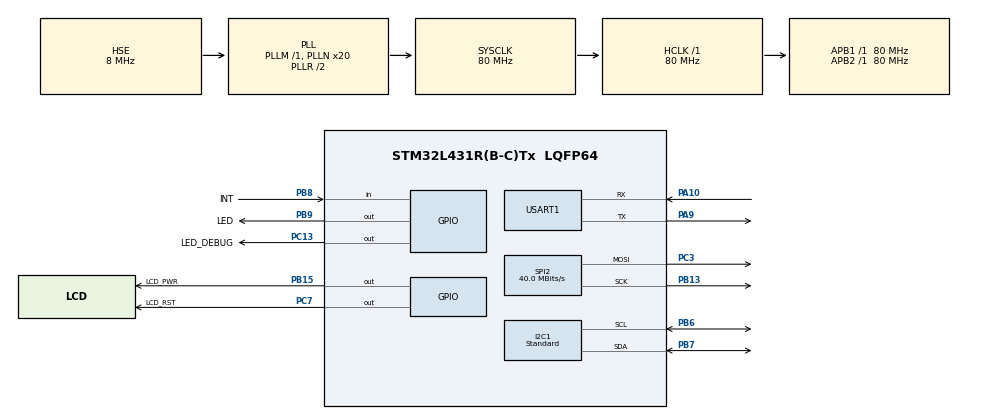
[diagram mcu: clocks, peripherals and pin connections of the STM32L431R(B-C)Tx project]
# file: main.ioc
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I2C1.I2C_Speed_Mode=I2C_Standard
I2C1.Timing=0x10909CEC
Mcu.Family=STM32L4
Mcu.Name=STM32L431R(B-C)Tx
Mcu.Package=LQFP64
NVIC.PriorityGroup=NVIC_PRIORITYGROUP_4
PA10.Mode=Asynchronous
PA10.Signal=USART1_RX
PA13\ (JTMS-SWDIO).Mode=Serial_Wire
PA13\ (JTMS-SWDIO).Signal=SYS_JTMS-SWDIO
PA14\ (JTCK-SWCLK).Mode=Serial_Wire
PA14\ (JTCK-SWCLK).Signal=SYS_JTCK-SWCLK
PA9.Mode=Asynchronous
PA9.Signal=USART1_TX
PB13.Mode=TX_Only_Simplex_Unidirect_Master
PB13.Signal=SPI2_SCK
PB15.GPIO_Label=LCD_PWR
PB15.GPIO_Speed=GPIO_SPEED_FREQ_VERY_HIGH
PB15.Signal=GPIO_Output
PB6.Mode=I2C
PB6.Signal=I2C1_SCL
PB7.Mode=I2C
PB7.Signal=I2C1_SDA
PB8.GPIO_Label=INT
PB8.Signal=GPIO_Input
PB9.GPIO_Label=LED
PB9.GPIO_Speed=GPIO_SPEED_FREQ_VERY_HIGH
PB9.Signal=GPIO_Output
PC13.GPIO_Label=LED_DEBUG
PC13.Signal=GPIO_Output
PC3.Mode=TX_Only_Simplex_Unidirect_Master
PC3.Signal=SPI2_MOSI
PC7.GPIO_Label=LCD_RST
PC7.GPIO_Speed=GPIO_SPEED_FREQ_VERY_HIGH
PC7.Signal=GPIO_Output
PH0-OSC_IN\ (PH0).Mode=HSE-External-Oscillator
PH0-OSC_IN\ (PH0).Signal=RCC_OSC_IN
PH1-OSC_OUT\ (PH1).Mode=HSE-External-Oscillator
PH1-OSC_OUT\ (PH1).Signal=RCC_OSC_OUT
ProjectManager.HeapSize=0x200
ProjectManager.StackSize=0x400
ProjectManager.TargetToolchain=MDK-ARM V5.27
RCC.ADCFreq_Value=32000000
RCC.AHBFreq_Value=80000000
RCC.APB1Freq_Value=80000000
RCC.APB1TimFreq_Value=80000000
RCC.APB2Freq_Value=80000000
RCC.APB2TimFreq_Value=80000000
RCC.CortexFreq_Value=80000000
RCC.HCLKFreq_Value=80000000
RCC.HSE_VALUE=8000000
RCC.HSI48_VALUE=48000000
RCC.HSI_VALUE=16000000
RCC.LSE_VALUE=32768
RCC.MSI_VALUE=4000000
RCC.PLLN=20
RCC.PLLSourceVirtual=RCC_PLLSOURCE_HSE
RCC.SYSCLKFreq_VALUE=80000000
RCC.SYSCLKSource=RCC_SYSCLKSOURCE_PLLCLK
RCC.VCOOutputFreq_Value=160000000
SPI2.CLKPhase=SPI_PHASE_2EDGE
SPI2.CLKPolarity=SPI_POLARITY_HIGH
SPI2.CalculateBaudRate=40.0 MBits/s
SPI2.DataSize=SPI_DATASIZE_8BIT
SPI2.Direction=SPI_DIRECTION_2LINES
SPI2.Mode=SPI_MODE_MASTER
SPI2.VirtualType=VM_MASTER
USART1.VirtualMode-Asynchronous=VM_ASYNC
board=custom

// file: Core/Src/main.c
/* USER CODE BEGIN Header */
/**
  ******************************************************************************
  * @file           : main.c
  * @brief          : Main program body
  ******************************************************************************
  * @attention
  *
  * <h2><center>&copy; Copyright (c) 2021 STMicroelectronics.
  * All rights reserved.</center></h2>
  *
  * This software component is licensed by ST under BSD 3-Clause license,
  * the "License"; You may not use this file except in compliance with the
  * License. You may obtain a copy of the License at:
  *                        opensource.org/licenses/BSD-3-Clause
  *
  ******************************************************************************
  */
/* USER CODE END Header */
#include "main.h"
#include "i2c.h"
#include "spi.h"
#include "usart.h"
#include "gpio.h"

/* USER CODE BEGIN Includes */
#include <math.h>
/* USER CODE END Includes */

void SystemClock_Config(void);

/* USER CODE BEGIN 0 */
typedef struct{
	unsigned short  c;      //[0-65536]
	unsigned short  r;
	unsigned short  g;
	unsigned short  b;
}COLOR_RGBC;//RGBC

typedef struct{
	unsigned short h;       //[0,360]
	unsigned char  s;       //[0,100]
	unsigned char  l;       //[0,100]
}COLOR_HSL;//HSL

COLOR_RGBC rgb;
COLOR_HSL  hsl;

#define max3v(v1, v2, v3)   ((v1)<(v2)? ((v2)<(v3)?(v3):(v2)):((v1)<(v3)?(v3):(v1)))
#define min3v(v1, v2, v3)   ((v1)>(v2)? ((v2)>(v3)?(v3):(v2)):((v1)>(v3)?(v3):(v1)))

//RGB转HSL
void RGBtoHSL(COLOR_RGBC *Rgb, COLOR_HSL *Hsl)
{
	uint8_t maxVal,minVal,difVal;
	uint8_t r = Rgb->r*100/Rgb->c;   //[0-100]
	uint8_t g = Rgb->g*100/Rgb->c;
	uint8_t b = Rgb->b*100/Rgb->c;

	maxVal = max3v(r,g,b);
	minVal = min3v(r,g,b);
	difVal = maxVal-minVal;

	//计算亮度
	Hsl->l = (maxVal+minVal)/2;   //[0-100]

	if(maxVal == minVal)//若r=g=b,灰度
	{
		Hsl->h = 0;
		Hsl->s = 0;
	}
	else
	{
		//计算色调
		if(maxVal==r)
		{
			if(g>=b)
				Hsl->h = 60*(g-b)/difVal;
			else
				Hsl->h = 60*(g-b)/difVal+360;
		}
		else
			{
				if(maxVal==g)Hsl->h = 60*(b-r)/difVal+120;
				else
					if(maxVal==b)Hsl->h = 60*(r-g)/difVal+240;
			}

		//计算饱和度
		if(Hsl->l<=50)Hsl->s=difVal*100/(maxVal+minVal);  //[0-100]
		else
			Hsl->s=difVal*100/(200-(maxVal+minVal));
	}
}

extern uint32_t time1_cntr;
#include "lcd_spi2_drv.h"
/* USER CODE END 0 */

int main(void)
{
  /* USER CODE BEGIN 1 */
	uint8_t status ;
  /* USER CODE END 1 */

  /* MCU Configuration--------------------------------------------------------*/

  /* Reset of all peripherals, Initializes the Flash interface and the Systick. */
  HAL_Init();

  /* Configure the system clock */
  SystemClock_Config();

  /* Initialize all configured peripherals */
  MX_GPIO_Init();
  MX_I2C1_Init();
  MX_USART1_UART_Init();
  MX_SPI2_Init();
  /* USER CODE BEGIN 2 */
	printf("颜色传感器识别\n");
	HAL_GPIO_WritePin(LED_GPIO_Port, LED_Pin, GPIO_PIN_SET);
	tcs3272_init();
	LCD_Init();
	LCD_DisplayOn();
  /* USER CODE END 2 */

  /* Infinite loop */
  while (1)
  {

    /* USER CODE BEGIN 3 */
		//status = HAL_GPIO_ReadPin(INT_GPIO_Port,INT_Pin);
		if(time1_cntr >= 100)  //100ms
		{
			time1_cntr = 0 ;
			tcs3472_test();
		}
  }
  /* USER CODE END 3 */
}

void SystemClock_Config(void)
{
  RCC_OscInitTypeDef RCC_OscInitStruct = {0};
  RCC_ClkInitTypeDef RCC_ClkInitStruct = {0};
  RCC_PeriphCLKInitTypeDef PeriphClkInit = {0};

  /** Initializes the RCC Oscillators according to the specified parameters
  * in the RCC_OscInitTypeDef structure.
  */
  RCC_OscInitStruct.OscillatorType = RCC_OSCILLATORTYPE_HSE;
  RCC_OscInitStruct.HSEState = RCC_HSE_ON;
  RCC_OscInitStruct.PLL.PLLState = RCC_PLL_ON;
  RCC_OscInitStruct.PLL.PLLSource = RCC_PLLSOURCE_HSE;
  RCC_OscInitStruct.PLL.PLLM = 1;
  RCC_OscInitStruct.PLL.PLLN = 20;
  RCC_OscInitStruct.PLL.PLLP = RCC_PLLP_DIV7;
  RCC_OscInitStruct.PLL.PLLQ = RCC_PLLQ_DIV2;
  RCC_OscInitStruct.PLL.PLLR = RCC_PLLR_DIV2;
  if (HAL_RCC_OscConfig(&RCC_OscInitStruct) != HAL_OK)
  {
    Error_Handler();
  }
  /** Initializes the CPU, AHB and APB buses clocks
  */
  RCC_ClkInitStruct.ClockType = RCC_CLOCKTYPE_HCLK|RCC_CLOCKTYPE_SYSCLK
                              |RCC_CLOCKTYPE_PCLK1|RCC_CLOCKTYPE_PCLK2;
  RCC_ClkInitStruct.SYSCLKSource = RCC_SYSCLKSOURCE_PLLCLK;
  RCC_ClkInitStruct.AHBCLKDivider = RCC_SYSCLK_DIV1;
  RCC_ClkInitStruct.APB1CLKDivider = RCC_HCLK_DIV1;
  RCC_ClkInitStruct.APB2CLKDivider = RCC_HCLK_DIV1;

  if (HAL_RCC_ClockConfig(&RCC_ClkInitStruct, FLASH_LATENCY_4) != HAL_OK)
  {
    Error_Handler();
  }
  PeriphClkInit.PeriphClockSelection = RCC_PERIPHCLK_USART1|RCC_PERIPHCLK_I2C1;
  PeriphClkInit.Usart1ClockSelection = RCC_USART1CLKSOURCE_PCLK2;
  PeriphClkInit.I2c1ClockSelection = RCC_I2C1CLKSOURCE_PCLK1;
  if (HAL_RCCEx_PeriphCLKConfig(&PeriphClkInit) != HAL_OK)
  {
    Error_Handler();
  }
  /** Configure the main internal regulator output voltage
  */
  if (HAL_PWREx_ControlVoltageScaling(PWR_REGULATOR_VOLTAGE_SCALE1) != HAL_OK)
  {
    Error_Handler();
  }
}

void Error_Handler(void)
{
}

/************************ (C) COPYRIGHT STMicroelectronics *****END OF FILE****/
